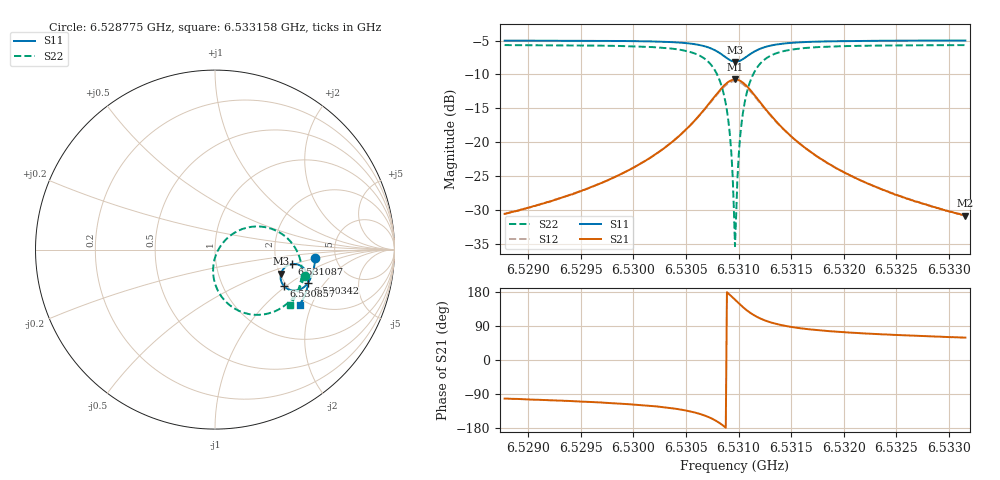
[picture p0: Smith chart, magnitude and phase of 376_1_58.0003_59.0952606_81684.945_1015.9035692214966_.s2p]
#  HZ  S  RI  R  50.00
! Rohde & Schwarz Vector Network Analyzer
! Rohde-Schwarz,ZNB20-2Port,1311601062101988,3.16
! Created: UTC 3/21/2024, 1:07:07 AM
! freq[Hz]  re:S11  im:S11  re:S21  im:S21  re:S12  im:S12  re:S22  im:S22
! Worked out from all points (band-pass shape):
!   401 points, 6.528775 GHz to 6.533158 GHz, reference 50 ohm
!   highest |S21| = -10.75 dB at 6.530967 GHz (marker M1); lowest = -30.9 dB at 6.533158 GHz (marker M2)
!   |S21| within 3 dB of the highest: 6.530748 GHz to 6.531187 GHz (438.7 kHz wide, 0.00672 % of centre)
!   lowest |S11| = -8.1 dB at 6.530967 GHz (marker M3), VSWR 2.29, Z = 102 - j32 ohm
!   |S11| at or under -10 dB: nowhere
!   |S22| runs from -35.4 to -5.7 dB; largest |S21 - S12| = 0.011
!   S11 on the Smith chart (normalised r, x): 6.528775 GHz: 3.49, -0.46; 6.530342 GHz: 2.59, -1.39; 6.530857 GHz: 1.93, -0.97; 6.531087 GHz: 2.42, -0.48; 6.533158 GHz: 1.82, -1.65
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6.5287754e9  0.5595 -0.0456  -0.00605 -0.0289  -0.00666 -0.0288  0.4991 -0.1487
6.5295094e9  0.5503 -0.1059  -0.0148 -0.0411  -0.0157 -0.0409  0.4704 -0.2156
6.5302435e9  0.5234 -0.1769  -0.0463 -0.0708  -0.0482 -0.0696  0.3936 -0.3083
6.5303421e9  0.5156 -0.1882  -0.0572 -0.0777  -0.0594 -0.0762  0.3707 -0.3246
6.5306927e9  0.4525 -0.2277  -0.1538 -0.0959  -0.156 -0.0899  0.1875 -0.3588
6.5307913e9  0.4135 -0.2232  -0.2142 -0.0725  -0.2138 -0.0639  0.0838 -0.3111
6.530857e9  0.3846 -0.2034  -0.2575 -0.0282  -0.2534 -0.019  0.0166 -0.2299
6.5308899e9  0.3729 -0.1861  -0.2732 0.00573  -0.2669 0.0143  -0.00494 -0.1707
6.5309118e9  0.3678 -0.1722  -0.2791 0.0321  -0.2715 0.0397  -0.0107 -0.1259
6.5309228e9  0.3662 -0.1647  -0.2804 0.0461  -0.272 0.053  -0.0103 -0.1025
6.5309556e9  0.3664 -0.1409  -0.2754 0.0894  -0.2659 0.0938  0.0043 -0.0319
6.5309666e9  0.3682 -0.1332  -0.2709 0.1034  -0.2612 0.1071  0.0142 -0.00935
6.5309775e9  0.371 -0.1256  -0.2652 0.1172  -0.2553 0.1198  0.0258 0.0121
6.5309885e9  0.3744 -0.1183  -0.258 0.13  -0.2482 0.132  0.0397 0.0321
6.5310104e9  0.3833 -0.1054  -0.2403 0.1529  -0.231 0.1534  0.0723 0.0673
6.5310323e9  0.3946 -0.0949  -0.2192 0.1717  -0.2108 0.1705  0.1098 0.0946
6.5310871e9  0.4262 -0.0811  -0.1617 0.1971  -0.1562 0.1944  0.2091 0.1276
6.5311638e9  0.465 -0.0843  -0.0935 0.1953  -0.0905 0.1926  0.3241 0.1125
6.5312733e9  0.4979 -0.1068  -0.0359 0.1653  -0.0343 0.164  0.4181 0.0481
6.5317006e9  0.5196 -0.1829  0.0141 0.0816  0.0152 0.0814  0.4832 -0.1296
6.5324347e9  0.4995 -0.2555  0.0166 0.0392  0.0174 0.039  0.4556 -0.2449
6.5331578e9  0.4715 -0.3083  0.0147 0.0245  0.0152 0.0242  0.4203 -0.307
